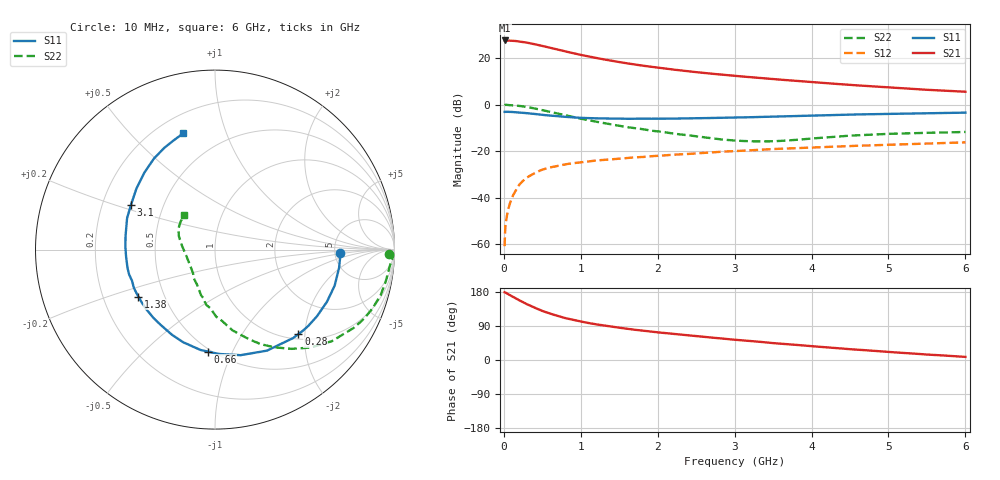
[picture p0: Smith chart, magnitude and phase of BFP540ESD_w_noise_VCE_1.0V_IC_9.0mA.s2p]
! Infineon Technologies  Discrete & RF Semiconductors
! BFP540ESD
! VCE =  1.0 V,  IC =  9.0 mA
! Common Emitter S-Parameters:  Nov 2015
# GHz  S  MA  R  50
!  f  S11  S21  S12  S22
! GHz  MAG  ANG  MAG  ANG  MAG  ANG  MAG  ANG
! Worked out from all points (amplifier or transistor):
!   210 points, 10 MHz to 6 GHz, reference 50 ohm
!   highest |S21| = 27.6 dB at 10 MHz (marker M1)
!   |S21| within 3 dB of that: start of sweep to 583.3 MHz
!   unconditionally stable (mu >= 1): 2.832 GHz to end of sweep
!   at 185 MHz: K = 0.10, MSG = 31.2 dB, |S12| = -35.2 dB
!   at 1.52 GHz: K = 0.70, MSG = 20.7 dB, |S12| = -23.2 dB
!   at 6 GHz: K = 1.17, MAG = 8.4 dB, |S12| = -16.2 dB
!   lowest NFmin = 0.83 dB at 900 MHz
!   S11 on the Smith chart (normalised r, x): 10 MHz: 5.57, -0.39; 280 MHz: 1.11, -1.85; 660 MHz: 0.48, -0.81; 1.38 GHz: 0.36, -0.25; 3.1 GHz: 0.32, +0.22; 6 GHz: 0.30, +0.72
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0.01  0.6968 -1.5  23.97 178.7  0.0009 83.9  0.9682 -1.6
0.02  0.6985 -3.8  23.79 178.0  0.0024 86.2  0.9936 -2.1
0.04  0.6982 -6.8  23.83 175.6  0.0041 83.2  0.9838 -4.1
0.1  0.6962 -16.8  23.68 168.7  0.0094 81.0  0.969 -10.2
0.15  0.6881 -25.0  23.38 163.2  0.0138 80.5  0.9573 -15.3
0.2  0.6789 -33.1  22.82 157.7  0.0188 75.7  0.9374 -20.3
0.28  0.6615 -45.4  21.77 149.4  0.0254 71.4  0.8974 -27.7
0.4  0.633 -62.8  19.94 138.0  0.0334 64.3  0.8271 -38.1
0.5  0.6052 -76.4  18.38 129.5  0.0399 59.3  0.7615 -45.8
0.6  0.5816 -88.0  16.71 122.3  0.0444 55.6  0.698 -52.4
0.66  0.5693 -94.1  15.86 118.8  0.0465 53.7  0.6626 -55.8
0.8  0.5458 -108.9  13.95 110.5  0.052 49.6  0.587 -64.0
1.02  0.5168 -126.2  11.55 100.8  0.0579 45.7  0.4898 -73.9
1.2  0.507 -138.6  10.05 94.1  0.0628 43.1  0.4286 -81.0
1.38  0.5011 -148.5  8.894 88.7  0.0662 41.8  0.379 -87.9
1.7  0.4982 -164.0  7.297 79.8  0.0733 39.4  0.3128 -98.7
2.02  0.4971 -176.2  6.171 72.6  0.0793 37.8  0.2633 -107.4
2.58  0.5102 165.8  4.831 61.4  0.0908 35.1  0.2 -125.8
3.1  0.5303 152.0  4.023 51.9  0.1017 32.3  0.1651 -146.3
4.1  0.5868 130.7  2.967 34.9  0.1207 25.4  0.1917 169.6
5.1  0.6366 115.3  2.292 19.9  0.1384 18.4  0.2369 148.1
6  0.6709 105.3  1.89 8.2  0.1541 13.0  0.2579 132.0
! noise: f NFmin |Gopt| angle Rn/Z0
0.9  0.83  0.08  -128  0.11
1.8  1.03  0.14  -161  0.1
2.4  1.04  0.14  -156  0.1
3  1.16  0.21  -156  0.1
4  1.29  0.34  -115  0.15
5  1.48  0.45  -92  0.27
6  1.72  0.53  -95  0.5
